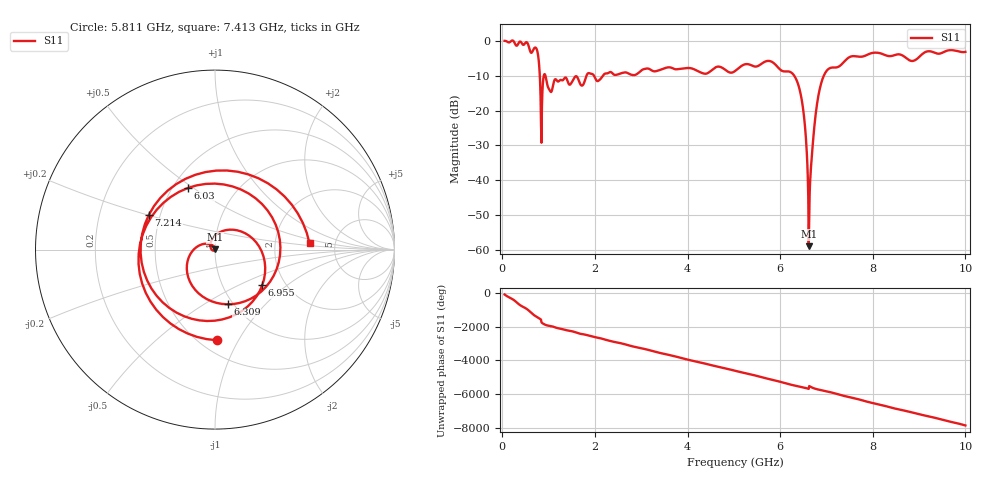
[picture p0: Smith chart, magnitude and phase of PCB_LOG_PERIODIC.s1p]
! TOUCHSTONE file generated by CST MICROWAVE STUDIO
! Date and time: Sat Jan  3 18:33:33 2026
! Project name: PCB_LOG_PERIODIC.cst
! Parameters = {bowtie_linear_scaling_factor=0.85; bowtie_spacing=200; cnd_off1=0.25; cnd_off2=0.5; cnd_off3=1.5; copper_thickness=0.035; dielectric_eps=4.6; dielectric_thickness=1.5; feed_cut_len=1.5; feed_line_length=205; feed_line_width=4; first_bowtie_length=60; first_bowtie_pos_offset=30; first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
! Header version: 2024
! Port assignment regex: !\s*Touchstone port\s*([0-9]+)\s*=\s*(CST MWS port|CST DES external port|CST DES block port)\s*(.+)\s* \(\"(.*)\"\)(\s*mode\s*([0-9]+))?.*
! Touchstone port assignment:
! Touchstone port 1 = CST MWS port 1 ("")
# GHz S MA R 50
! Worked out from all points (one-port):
!   1001 points, 50 MHz to 10 GHz, reference 50 ohm
!   lowest |S11| = -58.9 dB at 6.617 GHz (marker M1), VSWR 1.00, Z = 50 + j0.112 ohm
!   |S11| at or under -10 dB: 931.1 MHz to 1.818 GHz (886.8 MHz wide, 64.5 % of centre); 1.98 GHz to 2.172 GHz (191.8 MHz wide, 9.24 % of centre); 6.304 GHz to 6.942 GHz (638.5 MHz wide, 9.64 % of centre)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
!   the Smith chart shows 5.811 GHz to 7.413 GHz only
!   S11 on the Smith chart (normalised r, x): 5.811 GHz: 0.60, -0.82; 6.03 GHz: 0.59, +0.47; 6.309 GHz: 0.94, -0.64; 6.955 GHz: 1.53, -0.68; 7.214 GHz: 0.43, +0.20; 7.413 GHz: 3.20, +0.30
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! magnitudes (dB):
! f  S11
! 50 MHz  0.0
! 726.6 MHz  -2.0
! 856 MHz  -18.9
! 925.6 MHz  -9.8
! 1.035 GHz  -14.4
! 1.294 GHz  -11.3
! 1.722 GHz  -12.8
! 1.881 GHz  -9.3
! 2.538 GHz  -9.4
! 3.781 GHz  -8.1
! 5.025 GHz  -8.7
! 5.811 GHz  -5.9
! 6.03 GHz  -8.5
! 6.269 GHz  -9.4
! 6.309 GHz  -10.1
! 6.488 GHz  -18.8
! 6.537 GHz  -24.7
! 6.577 GHz  -32.5
! 6.617 GHz  -58.9
! 6.657 GHz  -38.0
! 6.707 GHz  -29.3
! 6.796 GHz  -18.1
! 6.955 GHz  -9.6
! 7.214 GHz  -7.6
! 7.413 GHz  -5.5
! 7.513 GHz  -4.6
! 8.756 GHz  -5.3
! 10 GHz  -3.2
